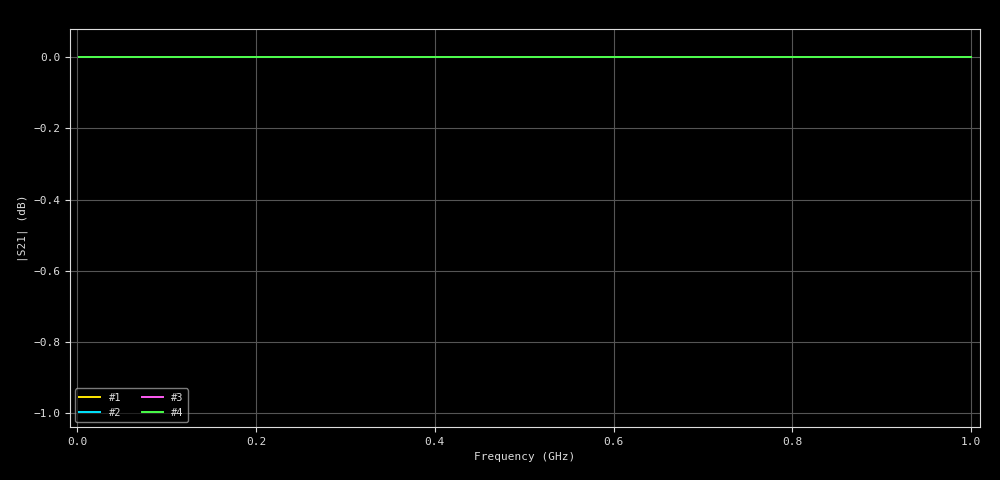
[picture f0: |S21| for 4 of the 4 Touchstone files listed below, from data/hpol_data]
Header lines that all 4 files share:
!Agilent N9923A: A.07.32
!Model: N9923A
!Serial: MY52412229
!GPS Latitude:
!GPS Longitude:
!GPS TimeStamp: 0001-01-01 00:00:00Z
!GPS Seconds Since Last Read: 0
!Correction: S11(ON U)S21()S12()S22()
!S2P File: Measurements:S11,S21,S12,S22:
# Hz S DB R 50
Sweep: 2 MHz to 1 GHz
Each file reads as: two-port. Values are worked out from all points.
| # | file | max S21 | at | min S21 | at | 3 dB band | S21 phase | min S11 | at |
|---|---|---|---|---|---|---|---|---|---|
| 1 | HPOL_2.7PF-33NH-SHUNT_ALICE-CAT2_S2P.s2p | 0.00 dB | 2 MHz | 0.0 dB | 2 MHz | 2 MHz-1 GHz | 0 deg at 501 MHz | -10.8 dB | 421.2 MHz |
| 2 | HPOL_2.7PF-47NH-SHUNT_BOB-DOG2_S2P.s2p | 0.00 dB | 2 MHz | 0.0 dB | 2 MHz | 2 MHz-1 GHz | 0 deg at 501 MHz | -11.0 dB | 690.6 MHz |
| 3 | HPOL_2.7PF-NO-SHUNT_ALICE-CAT2_S2P.s2p | 0.00 dB | 2 MHz | 0.0 dB | 2 MHz | 2 MHz-1 GHz | 0 deg at 501 MHz | -15.6 dB | 446.1 MHz |
| 4 | HPOL_3.3PF-NO-SHUNT_ALICE-CAT2_S2P.s2p | 0.00 dB | 2 MHz | 0.0 dB | 2 MHz | 2 MHz-1 GHz | 0 deg at 501 MHz | -9.7 dB | 421.2 MHz |
